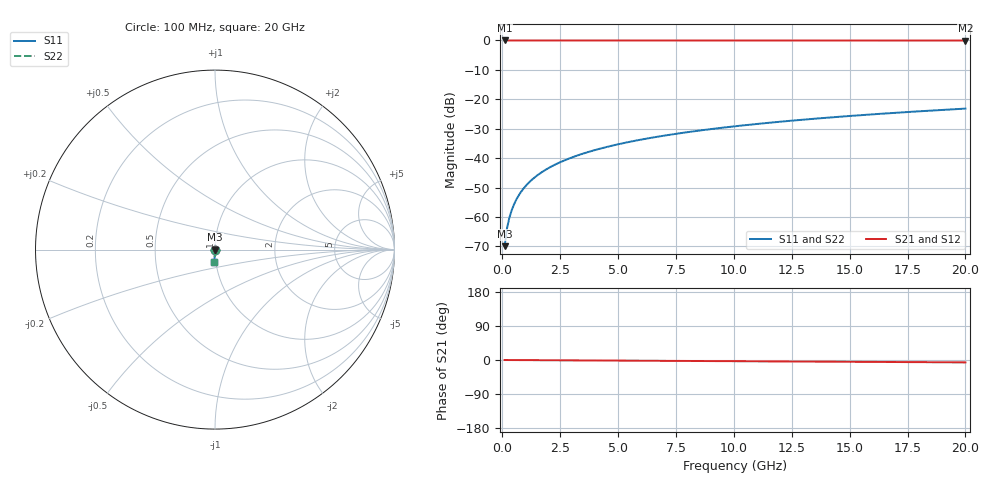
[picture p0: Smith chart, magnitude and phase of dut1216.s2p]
! Touchstone file exported from HFSS 2026.1.0
!  File:  C:/ffzhzh/LocalFiles/Ansys_Project_Files/temp_train_TSV_1216_1783192956_55132.aedt
!  Generated:  03:23:52 AM Jul  5, 2026
!  Design:  TSV
!  Project:  temp_train_TSV_1216_1783192956_55132
! Variables:
!  h_bsmrdl = 2um
!  h_ox = 20um
!  h_rdl = 5um
!  h_sub = 50.07um
!  h_tmrdl = 5um
!  h_tsv = 50.07um
!  h_via = 3um
!  l_bsmrdl = 300um
!  l_sub = 427.56um
!  l_tmrdl = 200um
!  m_sub = 200um
!  pitch = 33.27um
!  r_tsv = 13.78um
!  s_tmrdl = 10um
!  w_bsmrdl = 18um
!  w_sub = 500um
!  w_tmrdl = 12um
!  x_tsv_center1 = 206um
!  x_tsv_center2 = 524um
!  x_tsv_center3 = 736um
!  x_tsv_center4 = 1054um
!  x_tsv_center5 = 1266um
!  x_tsv_center6 = 1584um
# GHz S MA R 50.000000
! Terminal data exported
! Port[1] = TSV1_1_T1
! Port[2] = TSV1_1_T2
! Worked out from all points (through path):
!   200 points, 100 MHz to 20 GHz, reference 50 ohm
!   highest |S21| = 0.00 dB at 100 MHz (marker M1); lowest = 0.0 dB at 20 GHz (marker M2)
!   lowest |S11| = -69.9 dB at 100 MHz (marker M3), VSWR 1.00, Z = 50 - j0.0311 ohm
!   |S11| at or under -10 dB: start of sweep to end of sweep
!   |S22| runs from -69.9 to -23.2 dB; largest |S21 - S12| = 2e-15
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0.1  0.0003184 -77.7  0.9999 -0.0  0.9999 -0.0  0.0003184 -77.7
! Gamma 0 0 0 0
! Port Impedance 50 0 50 0
0.2  0.000631 -82.7  0.9999 -0.1  0.9999 -0.1  0.000631 -82.7
0.3  0.0009518 -84.1  0.9999 -0.1  0.9999 -0.1  0.0009518 -84.1
0.4  0.00128 -84.8  0.9999 -0.1  0.9999 -0.1  0.00128 -84.8
0.5  0.001613 -85.2  0.9999 -0.2  0.9999 -0.2  0.001613 -85.2
0.7  0.002293 -85.8  0.9998 -0.2  0.9998 -0.2  0.002293 -85.8
0.8  0.002636 -86.1  0.9998 -0.3  0.9998 -0.3  0.002636 -86.1
1  0.003326 -86.6  0.9998 -0.3  0.9998 -0.3  0.003326 -86.6
1.2  0.004018 -87.0  0.9998 -0.4  0.9998 -0.4  0.004018 -87.0
1.4  0.00471 -87.3  0.9997 -0.5  0.9997 -0.5  0.00471 -87.3
1.7  0.005747 -87.8  0.9997 -0.5  0.9997 -0.5  0.005747 -87.8
2  0.006784 -88.2  0.9997 -0.6  0.9997 -0.6  0.006784 -88.2
2.7  0.009203 -88.8  0.9996 -0.9  0.9996 -0.9  0.009203 -88.8
3.5  0.01197 -89.3  0.9996 -1.1  0.9996 -1.1  0.01197 -89.3
4.2  0.0144 -89.7  0.9995 -1.3  0.9995 -1.3  0.0144 -89.7
5  0.01718 -90.1  0.9994 -1.6  0.9994 -1.6  0.01718 -90.1
6.8  0.02344 -90.9  0.9992 -2.2  0.9992 -2.2  0.02344 -90.9
8.3  0.02867 -91.4  0.999 -2.6  0.999 -2.6  0.02867 -91.4
10.1  0.03494 -92.1  0.9987 -3.2  0.9987 -3.2  0.03494 -92.1
13.4  0.04644 -93.3  0.9982 -4.2  0.9982 -4.2  0.04644 -93.3
16.7  0.05792 -94.4  0.9975 -5.3  0.9975 -5.3  0.05792 -94.4
20  0.06939 -95.5  0.9967 -6.3  0.9967 -6.3  0.06939 -95.5
